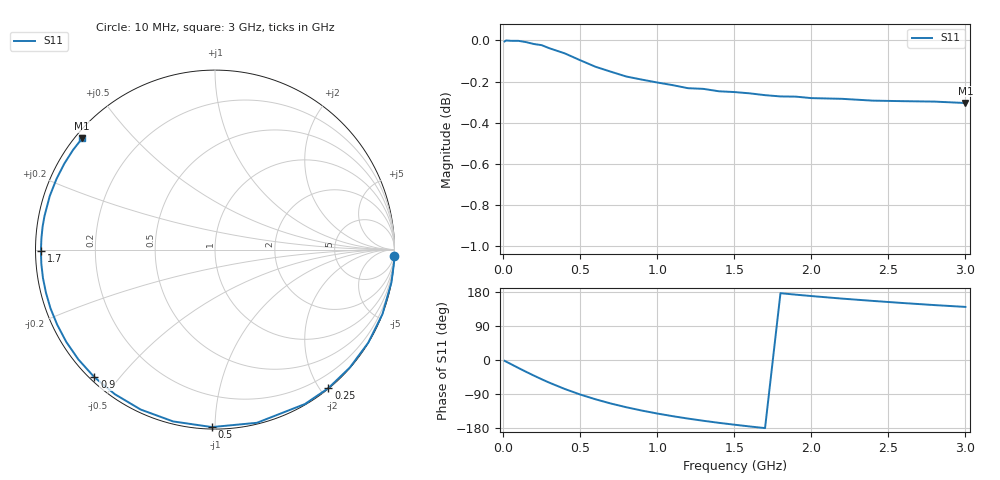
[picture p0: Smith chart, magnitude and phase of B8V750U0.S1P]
! SIEMENS Discrete & RF Semiconductors
! BBY53-03W
! Si Tuning Diode in SOD323
! VR = 0.75 V
! S-Parameters:  May  1997
# GHz  S  MA  R  50
!  f  S11
! GHz  MAG  ANG
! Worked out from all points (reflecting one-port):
!   30 points, 10 MHz to 3 GHz, reference 50 ohm
!   lowest |S11| = -0.3 dB at 3 GHz (marker M1), VSWR 57.11, Z = 0.991 + j18.1 ohm
!   phase of S11 starts at -2 deg and turns -218 deg over the sweep
!   S11 on the Smith chart (normalised r, x): 10 MHz: 1, -52; 250 MHz: 0.01, -2.11; 500 MHz: 0.01, -0.98; 900 MHz: 0.01, -0.43; 1.7 GHz: 0.02, -0.00; 3 GHz: 0.02, +0.36
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0.01  0.9995 -2.2
0.05  0.9998 -10.6
0.1  0.9998 -21.1
0.15  0.999 -31.3
0.2  0.998 -41.2
0.25  0.9974 -50.7
0.3  0.9957 -59.8
0.4  0.9928 -76.4
0.5  0.989 -91.0
0.6  0.9854 -103.7
0.7  0.9826 -114.9
0.8  0.98 -124.7
0.9  0.9783 -133.4
1  0.9767 -141.2
1.1  0.9753 -148.2
1.2  0.9736 -154.6
1.3  0.9733 -160.4
1.4  0.9719 -165.8
1.5  0.9715 -170.7
1.6  0.9708 -175.4
1.7  0.9698 -179.7
1.9  0.969 172.4
2  0.9682 168.8
2.2  0.9678 162.0
2.4  0.9669 155.9
2.6  0.9666 150.2
2.8  0.9664 144.9
3  0.9656 140.1
